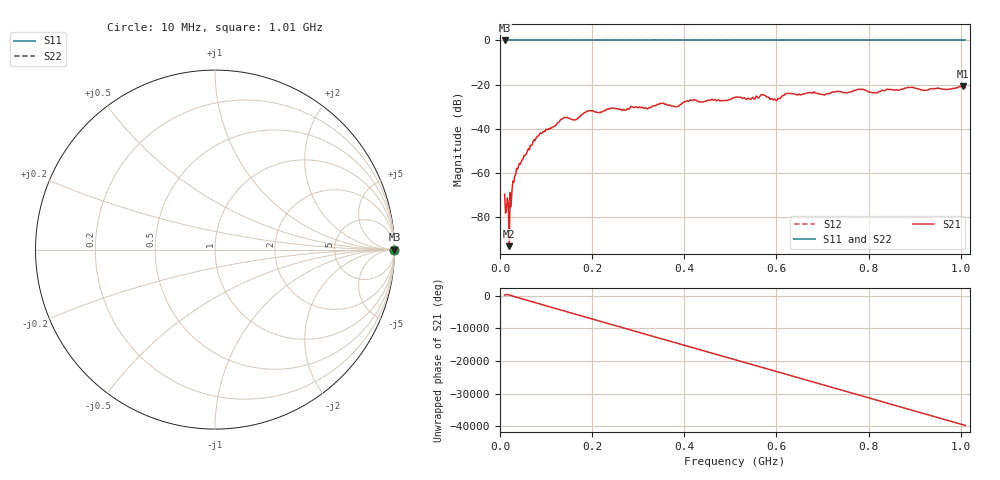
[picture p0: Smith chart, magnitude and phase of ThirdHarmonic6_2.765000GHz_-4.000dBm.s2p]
! 8/17/2025 6:59:54 AM
! C:\ANRITSUVNA\TEMP\TEMP.S2P
! CHANNEL.1
! TR.MEASUREMENT
! RAW.DATA
! RF.CORRECTION.OFF
! AVERAGING.OFF
! IF.BANDWIDTH: 5KHZ
! SWEEPTYPE:  FREQ.SWEEP(Linear)
! Reference Plane Port Info
! PORT:  PORT1  PORT2
! DISTANCE:  0  m  0  m
! TIME:  0  s  0  s
! PHASE.OFFSET:  0  deg.  0  deg.
! LOSS:  0  dB  0  dB
! REF.LOSS:  0  dB  0  dB
! REF.FREQ:  0  Hz  0  Hz
! Power Info
! POWER:  -20  dBm  -20  dBm
! EFF.POWER:  -20  dBm  -20  dBm
! SOURCE.ATTEN:  0  dB  0  dB
! TEST.ATTEN:  0  dB  0  dB
# GHZ S RI R 50.0
! FREQ.GHZ  S11RE  S11IM  S21RE  S21IM  S12RE  S12IM  S22RE  S22IM
!; PortSelection: Port_12
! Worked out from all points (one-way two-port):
!   501 points, 10 MHz to 1.01 GHz, reference 50 ohm
!   highest |S21| = -20.88 dB at 1.004 GHz (marker M1); lowest = -93.4 dB at 20 MHz (marker M2)
!   lowest |S11| = 0.0 dB at 10 MHz (marker M3)
!   |S11| at or under -10 dB: nowhere
!   |S22| runs from 0.0 to 0.0 dB; largest |S21 - S12| = 1.1
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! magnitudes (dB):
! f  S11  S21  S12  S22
! 10 MHz  0.0  -69.8  0.0  0.0
! 16 MHz  0.0  -71.6  0.0  0.0
! 20 MHz  0.0  -93.4  0.0  0.0
! 24 MHz  0.0  -75.5  0.0  0.0
! 32 MHz  0.0  -61.7  0.0  0.0
! 38 MHz  0.0  -58.5  0.0  0.0
! 76 MHz  0.0  -45.6  0.0  0.0
! 136 MHz  0.0  -35.6  0.0  0.0
! 162 MHz  0.0  -36.0  0.0  0.0
! 178 MHz  0.0  -33.7  0.0  0.0
! 344 MHz  0.0  -29.1  0.0  0.0
! 382 MHz  0.0  -30.1  0.0  0.0
! 416 MHz  0.0  -27.3  0.0  0.0
! 510 MHz  0.0  -25.8  0.0  0.0
! 570 MHz  0.0  -24.6  0.0  0.0
! 598 MHz  0.0  -27.0  0.0  0.0
! 622 MHz  0.0  -24.1  0.0  0.0
! 678 MHz  0.0  -23.7  0.0  0.0
! 814 MHz  0.0  -23.6  0.0  0.0
! 844 MHz  0.0  -22.3  0.0  0.0
! 1.004 GHz  0.0  -20.9  0.0  0.0
! 1.01 GHz  0.0  -21.5  0.0  0.0
